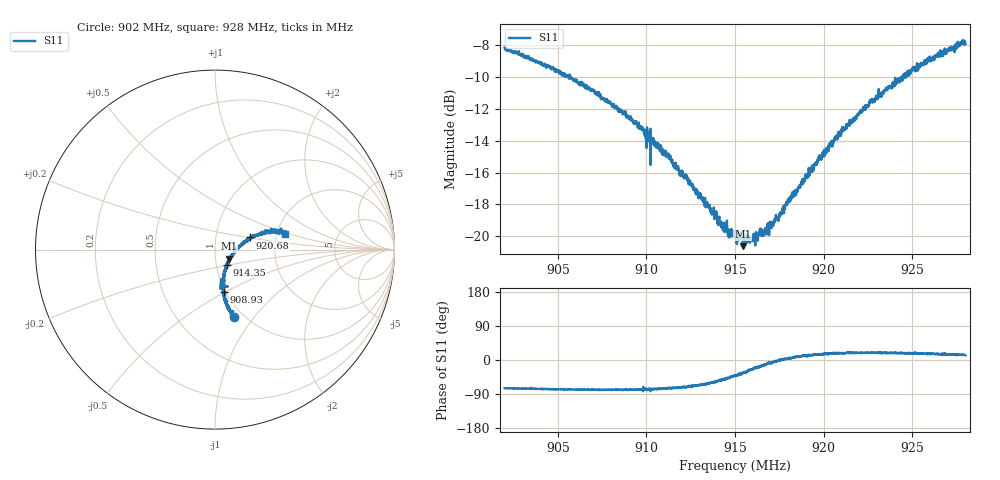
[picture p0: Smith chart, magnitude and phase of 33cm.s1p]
! Calibrated averaged scanner-service zoom
# Hz S RI R 50
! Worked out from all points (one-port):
!   2001 points, 902 MHz to 928 MHz, reference 50 ohm
!   lowest |S11| = -20.6 dB at 915.44 MHz (marker M1), VSWR 1.21, Z = 58.1 - j5.96 ohm
!   |S11| at or under -10 dB: 905.6064 MHz to 905.6671 MHz (60.67 kHz wide, 0.0067 % of centre); 905.7 MHz to 924.41 MHz (18.71 MHz wide, 2.05 % of centre); 924.579 MHz to 924.6079 MHz (28.92 kHz wide, 0.00313 % of centre)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
!   S11 on the Smith chart (normalised r, x): 902 MHz: 0.90, -0.80; 908.93 MHz: 0.98, -0.49; 914.35 MHz: 1.13, -0.19; 920.68 MHz: 1.46, +0.21; 928 MHz: 2.23, +0.45
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9.02e8  0.105 -0.3756
9.0525e8  0.0713 -0.3156
9.0707e8  0.0595 -0.2771
9.085e8  0.0483 -0.2443
9.08929e8  0.0496 -0.2336
9.09696e8  0.0441 -0.2164
9.09982e8  0.0385 -0.194
9.11282e8  0.0472 -0.1683
9.1175e8  0.05 -0.1551
9.12296e8  0.0514 -0.1452
9.1435e8  0.068 -0.084
9.14467e8  0.0657 -0.0816
9.1474e8  0.0721 -0.074
9.15e8  0.0763 -0.0677
9.15299e8  0.0793 -0.0632
9.15442e8  0.0781 -0.0508
9.15559e8  0.0845 -0.0553
9.16092e8  0.0933 -0.0382
9.16794e8  0.1026 -0.0198
9.17496e8  0.1177 -0.000719
9.1825e8  0.1347 0.016
9.20681e8  0.1937 0.0675
9.215e8  0.2175 0.0759
9.22696e8  0.2516 0.0868
9.2475e8  0.309 0.0983
9.26557e8  0.3646 0.0992
9.27818e8  0.3943 0.0924
9.28e8  0.3919 0.0853
